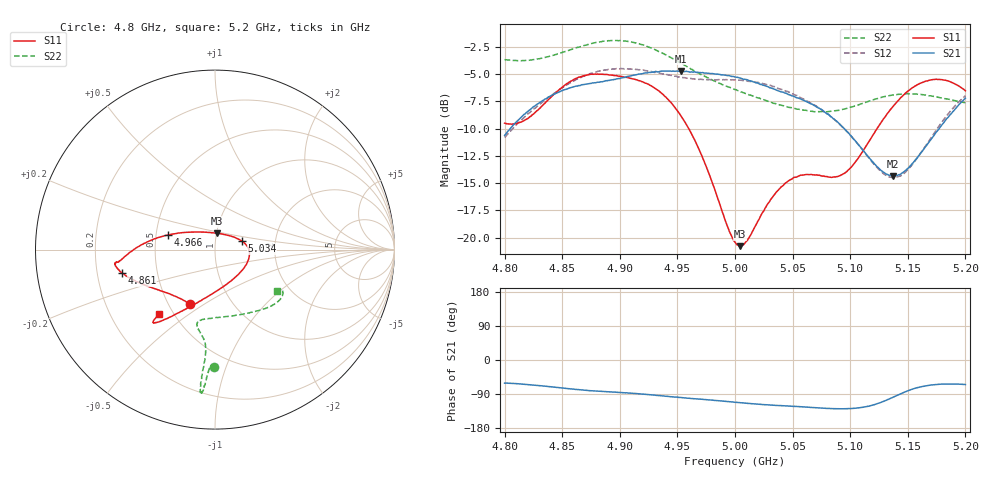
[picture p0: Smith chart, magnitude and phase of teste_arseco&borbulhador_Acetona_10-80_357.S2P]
! Network Analyzer HP8722D
! Hewlett-Packard
! Data name: Linha & Wilkinson
! Saver's name: Rodrigo Anjos
! Comments: Teste da utilização de aquisição
! continua pelo VNA HP8722D
! Time and date: 17/4/2025 17:20
!  Frequency  S11  S21  S12  S22
# HZ  S  MA R 50
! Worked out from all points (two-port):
!   401 points, 4.8 GHz to 5.2 GHz, reference 50 ohm
!   highest |S21| = -4.70 dB at 4.953 GHz (marker M1); lowest = -14.3 dB at 5.137 GHz (marker M2)
!   |S21| within 3 dB of the highest: 4.829 GHz to 5.066 GHz (236.3 MHz wide, 4.78 % of centre); 5.195266 GHz to end of sweep
!   lowest |S11| = -20.8 dB at 5.004 GHz (marker M3), VSWR 1.20, Z = 50.1 + j9.17 ohm
!   |S11| at or under -10 dB: 4.96 GHz to 5.123 GHz (163.5 MHz wide, 3.24 % of centre)
!   |S22| runs from -8.5 to -1.9 dB; largest |S21 - S12| = 0.87
!   S11 on the Smith chart (normalised r, x): 4.8 GHz: 0.64, -0.44; 4.861 GHz: 0.31, -0.11; 4.966 GHz: 0.58, +0.10; 5.034 GHz: 1.34, +0.13; 5.2 GHz: 0.42, -0.39
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4.8e9  0.3351 -114.2  0.2942 -61.1  0.2884 -175.0  0.6562 -90.3
4.819e9  0.3496 -134.0  0.3753 -64.4  0.3634 -174.0  0.6519 -91.8
4.861e9  0.5348 -166.0  0.4945 -77.4  0.5266 -177.2  0.7375 -94.1
4.867e9  0.5499 -168.3  0.5031 -79.1  0.5458 -178.4  0.7558 -94.3
4.9e9  0.5498 -172.7  0.5371 -85.6  0.5952 175.3  0.8029 -95.6
4.934e9  0.4707 -178.5  0.5769 -94.0  0.57 171.5  0.7137 -96.0
4.953e9  0.3625 172.0  0.5818 -98.9  0.5439 172.2  0.6328 -95.4
4.966e9  0.2731 162.6  0.5736 -102.5  0.5335 173.5  0.5775 -95.2
5e9  0.09525 99.2  0.5459 -111.6  0.5297 176.0  0.4779 -99.1
5.004e9  0.09127 84.4  0.5403 -112.6  0.5276 175.9  0.4688 -100.0
5.012e9  0.09946 57.2  0.5255 -114.6  0.5213 175.5  0.4525 -101.8
5.034e9  0.1569 17.7  0.4796 -119.5  0.4938 174.6  0.4126 -103.4
5.05e9  0.1867 1.6  0.447 -122.4  0.4573 173.7  0.3932 -99.1
5.067e9  0.1944 -16.5  0.4096 -125.2  0.4116 173.5  0.3797 -90.2
5.086e9  0.1898 -46.8  0.3502 -128.4  0.3496 173.5  0.3815 -75.8
5.097e9  0.2006 -69.1  0.3067 -128.6  0.3078 174.7  0.3917 -66.9
5.122e9  0.3089 -107.9  0.2153 -116.8  0.2133 -171.4  0.4323 -49.2
5.134e9  0.3809 -117.6  0.193 -102.5  0.1894 -155.6  0.4483 -43.0
5.137e9  0.3984 -119.3  0.1919 -98.5  0.1885 -150.8  0.4514 -41.7
5.15e9  0.4693 -125.0  0.2075 -81.5  0.2045 -131.0  0.4568 -36.9
5.17e9  0.5295 -129.6  0.2817 -66.0  0.2864 -112.3  0.4472 -32.2
5.2e9  0.4719 -131.0  0.436 -64.8  0.4484 -106.9  0.4154 -33.6
